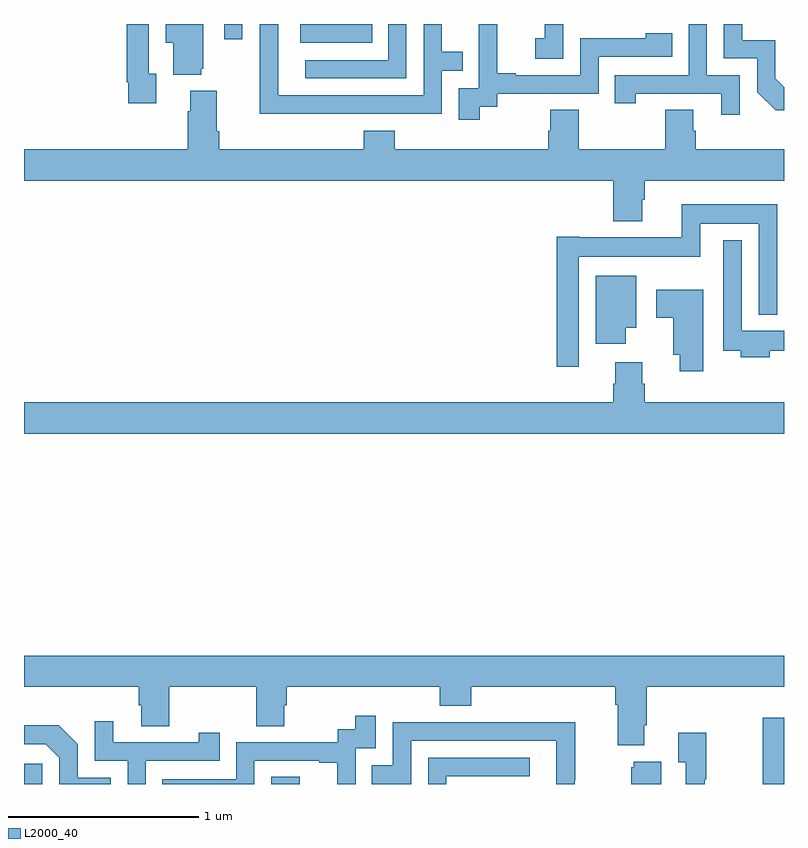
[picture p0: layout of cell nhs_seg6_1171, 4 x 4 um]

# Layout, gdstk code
import gdstk
lib = gdstk.Library(unit=1e-6, precision=1e-09)
def R(c, l, rs):  # rectangles x0, y0, x1, y1
    for r in rs: c.add(gdstk.rectangle(r[:2], r[2:], *l))
def P(c, l, *ps):  # polygons
    for p in ps: c.add(gdstk.Polygon(p, *l))
L2000_40 = (2000, 40)

nhs_seg6_1171 = lib.new_cell('nhs_seg6_1171')
R(nhs_seg6_1171, L2000_40, [(183,937.5,183.096,937.606), (184.302,937.5,184.45,937.537), (186.889,937.5,187,937.849), (184.454,941.402,184.832,941.5), (184.053,941.421,184.149,941.5)])
P(nhs_seg6_1171, L2000_40, [(184.703,941.028),(185.199,941.028),(185.199,941.253),(185.309,941.253),(185.309,941.354),(185.199,941.354),(185.199,941.5),(185.103,941.5),(185.103,941.124),(184.338,941.124),(184.338,941.5),(184.242,941.5),(184.242,941.333),(184.24,941.333),(184.24,941.027),(184.703,941.027)],
  [(185.838,941.5),(185.74,941.5),(185.74,941.425),(185.691,941.425),(185.691,941.316),(185.838,941.316)],
  [(186.768,941.229),(186.594,941.229),(186.594,941.5),(186.498,941.5),(186.498,941.229),(186.109,941.229),(186.109,941.082),(186.22,941.082),(186.22,941.133),(186.671,941.133),(186.671,941.022),(186.768,941.022)],
  [(183.697,941.238),(183.657,941.238),(183.657,941.5),(183.541,941.5),(183.541,941.194),(183.549,941.194),(183.549,941.082),(183.697,941.082)],
  [(183.932,941.265),(183.943,941.265),(183.943,941.5),(183.746,941.5),(183.746,941.402),(183.785,941.402),(183.785,941.234),(183.932,941.234)],
  [(185.013,941.5),(184.917,941.5),(184.917,941.31),(184.479,941.31),(184.479,941.214),(185.013,941.214)],
  [(185.398,941.065),(185.49,941.065),(185.49,941.133),(186.024,941.133),(186.024,941.328),(186.413,941.328),(186.413,941.451),(186.273,941.451),(186.273,941.424),(185.928,941.424),(185.928,941.229),(185.587,941.229),(185.587,941.242),(185.492,941.242),(185.492,941.5),(185.393,941.5),(185.393,941.393),(185.394,941.393),(185.394,941.163),(185.289,941.163),(185.289,940.995),(185.398,940.995)],
  [(187,941.168),(186.954,941.214),(186.954,941.415),(186.781,941.415),(186.781,941.5),(186.684,941.5),(186.684,941.319),(186.858,941.319),(186.858,941.142),(186.956,941.045),(187,941.045)],
  [(186.253,940.575),(186.266,940.575),(186.266,940.676),(187,940.676),(187,940.84),(186.536,940.84),(186.536,940.938),(186.523,940.938),(186.523,941.048),(186.376,941.048),(186.376,940.84),(185.919,940.84),(185.919,941.048),(185.771,941.048),(185.771,940.938),(185.759,940.938),(185.759,940.84),(184.952,940.84),(184.952,940.939),(184.787,940.939),(184.787,940.84),(184.028,940.84),(184.028,940.936),(184.015,940.936),(184.015,941.149),(183.875,941.149),(183.875,941.042),(183.863,941.042),(183.863,940.84),(183,940.84),(183,940.676),(186.101,940.676),(186.101,940.463),(186.253,940.463)],
  [(185.919,940.274),(186.558,940.274),(186.558,940.448),(186.867,940.448),(186.867,939.971),(186.964,939.971),(186.964,940.552),(186.461,940.552),(186.461,940.378),(185.926,940.378),(185.926,940.381),(185.803,940.381),(185.803,939.696),(185.919,939.696)],
  [(186.926,939.78),(187,939.78),(187,939.886),(186.777,939.886),(186.777,940.363),(186.681,940.363),(186.681,939.78),(186.773,939.78),(186.773,939.746),(186.926,939.746)],
  [(186.166,939.902),(186.223,939.902),(186.223,940.174),(186.008,940.174),(186.008,939.816),(186.166,939.816)],
  [(186.574,940.102),(186.327,940.102),(186.327,939.955),(186.416,939.955),(186.416,939.758),(186.452,939.758),(186.452,939.672),(186.574,939.672)],
  [(187,939.508),(186.266,939.508),(186.266,939.606),(186.253,939.606),(186.253,939.721),(186.113,939.721),(186.113,939.606),(186.101,939.606),(186.101,939.508),(183,939.508),(183,939.344),(187,939.344)],
  [(186.265,937.81),(186.278,937.81),(186.278,938.012),(187,938.012),(187,938.176),(183,938.176),(183,938.012),(183.605,938.012),(183.605,937.914),(183.617,937.914),(183.617,937.804),(183.765,937.804),(183.765,938.012),(184.222,938.012),(184.222,937.804),(184.369,937.804),(184.369,937.914),(184.382,937.914),(184.382,938.012),(185.189,938.012),(185.189,937.913),(185.354,937.913),(185.354,938.012),(186.113,938.012),(186.113,937.916),(186.125,937.916),(186.125,937.703),(186.265,937.703)],
  [(184.212,937.623),(184.553,937.623),(184.553,937.611),(184.649,937.611),(184.649,937.5),(184.746,937.5),(184.746,937.689),(184.851,937.689),(184.851,937.858),(184.743,937.858),(184.743,937.788),(184.65,937.788),(184.65,937.719),(184.116,937.719),(184.116,937.524),(183.727,937.524),(183.727,937.5),(184.212,937.5)],
  [(183.642,937.623),(184.031,937.623),(184.031,937.771),(183.92,937.771),(183.92,937.719),(183.469,937.719),(183.469,937.831),(183.372,937.831),(183.372,937.623),(183.546,937.623),(183.546,937.5),(183.642,937.5)],
  [(185.037,937.728),(185.802,937.728),(185.802,937.5),(185.898,937.5),(185.898,937.519),(185.901,937.519),(185.901,937.826),(185.437,937.826),(185.437,937.824),(184.941,937.824),(184.941,937.599),(184.831,937.599),(184.831,937.5),(185.037,937.5)],
  [(183.456,937.533),(183.282,937.533),(183.282,937.71),(183.184,937.808),(183,937.808),(183,937.71),(183.114,937.71),(183.186,937.638),(183.186,937.5),(183.456,937.5)],
  [(186.584,937.526),(186.592,937.526),(186.592,937.771),(186.443,937.771),(186.443,937.615),(186.483,937.615),(186.483,937.5),(186.584,937.5)],
  [(185.223,937.542),(185.662,937.542),(185.662,937.638),(185.127,937.638),(185.127,937.5),(185.223,937.5)],
  [(186.355,937.618),(186.209,937.618),(186.209,937.587),(186.197,937.587),(186.197,937.5),(186.355,937.5)])

lib.write_gds('nhs_seg6_1171.gds')
